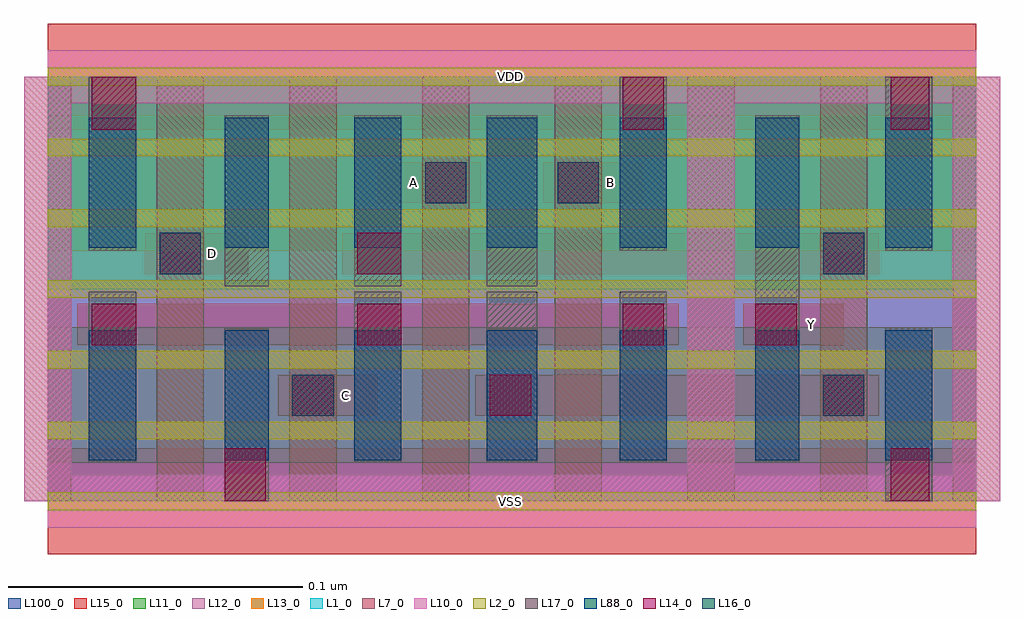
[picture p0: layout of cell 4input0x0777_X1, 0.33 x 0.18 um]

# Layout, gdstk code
import gdstk
lib = gdstk.Library(unit=1e-6, precision=1e-09)
def R(c, l, rs):  # rectangles x0, y0, x1, y1
    for r in rs: c.add(gdstk.rectangle(r[:2], r[2:], *l))
def A(c, l, x, y, w, h, nx, ny, dx, dy):  # array of equal rectangles
    R(c, l, [(x+i*dx, y+j*dy, x+i*dx+w, y+j*dy+h) for i in range(nx) for j in range(ny)])
def P(c, l, *ps):  # polygons
    for p in ps: c.add(gdstk.Polygon(p, *l))
L1_0 = (1, 0)
L2_0 = (2, 0)
L7_0 = (7, 0)
L10_0 = (10, 0)
L11_0 = (11, 0)
L12_0 = (12, 0)
L13_0 = (13, 0)
L14_0 = (14, 0)
L15_0 = (15, 0)
L16_0 = (16, 0)
L17_0 = (17, 0)
L88_0 = (88, 0)
L100_0 = (100, 0)

c_4input0x0777_x1 = lib.new_cell('4input0x0777_X1')
R(c_4input0x0777_x1, L1_0, [(0,0.072,0.315,0.144)])
A(c_4input0x0777_x1, L2_0, 0, -0.003, 0.315, 0.006, 1, 7, 0, 0.024)
A(c_4input0x0777_x1, L7_0, -0.008, 0, 0.016, 0.144, 8, 1, 0.045, 0)
P(c_4input0x0777_x1, L10_0, [(0,-0.009),(0,0),(-0.008,0),(-0.008,0.135),(0.008,0.135),(0.008,0.009),(0.217,0.009),(0.217,0.135),(0.233,0.135),(0.233,0.009),(0.307,0.009),(0.307,0.135),(-0.008,0.135),(-0.008,0.144),(0,0.144),(0,0.153),(0.315,0.153),(0.315,0.144),(0.323,0.144),(0.323,0),(0.315,0),(0.315,-0.009)])
R(c_4input0x0777_x1, L11_0, [(0,0.013,0.315,0.059), (0,0.085,0.315,0.131)])
R(c_4input0x0777_x1, L12_0, [(0,0,0.315,0.072)])
R(c_4input0x0777_x1, L13_0, [(0,0.072,0.315,0.144)])
R(c_4input0x0777_x1, L14_0, [(0.06,0,0.074,0.018), (0.286,0,0.299,0.018), (0.083,0.029,0.097,0.043), (0.15,0.029,0.164,0.043), (0.263,0.029,0.277,0.043), (0.015,0.053,0.03,0.067), (0.105,0.053,0.12,0.067), (0.195,0.053,0.209,0.067), (0.24,0.053,0.254,0.067), (0.038,0.077,0.052,0.091), (0.105,0.077,0.12,0.091), (0.263,0.077,0.277,0.091), (0.128,0.101,0.142,0.115), (0.173,0.101,0.187,0.115), (0.015,0.126,0.03,0.144), (0.195,0.126,0.209,0.144), (0.286,0.126,0.299,0.144)])
R(c_4input0x0777_x1, L15_0, [(0,-0.018,0.315,0.018), (0.078,0.029,0.112,0.043), (0.145,0.029,0.282,0.043), (0.01,0.053,0.214,0.067), (0.236,0.053,0.27,0.067), (0.033,0.077,0.068,0.091), (0.1,0.077,0.282,0.091), (0.112,0.101,0.147,0.115), (0.168,0.101,0.202,0.115), (0,0.126,0.315,0.162)])
R(c_4input0x0777_x1, L16_0, [(0.083,0.029,0.097,0.043), (0.263,0.029,0.277,0.043), (0.038,0.077,0.052,0.091), (0.263,0.077,0.277,0.091), (0.128,0.101,0.142,0.115), (0.173,0.101,0.187,0.115)])
A(c_4input0x0777_x1, L17_0, 0.014, 0.013, 0.016, 0.058, 3, 1, 0.09, 0)
R(c_4input0x0777_x1, L17_0, [(0.06,0,0.075,0.059), (0.284,0,0.3,0.059), (0.149,0.013,0.166,0.071), (0.24,0.013,0.255,0.131), (0.06,0.073,0.075,0.131), (0.104,0.073,0.12,0.131), (0.149,0.073,0.166,0.131), (0.014,0.085,0.03,0.144), (0.194,0.085,0.21,0.144), (0.284,0.085,0.3,0.144)])
A(c_4input0x0777_x1, L88_0, 0.014, 0.014, 0.016, 0.044, 4, 2, 0.09, 0.072)
R(c_4input0x0777_x1, L88_0, [(0.06,0.014,0.075,0.058), (0.149,0.014,0.166,0.058), (0.24,0.014,0.255,0.058), (0.06,0.086,0.075,0.13), (0.149,0.086,0.166,0.13), (0.24,0.086,0.255,0.13)])
R(c_4input0x0777_x1, L100_0, [(0,0,0.315,0.144)])
c_4input0x0777_x1.add(gdstk.Label('Y', (0.259,0.06), layer=15, texttype=251))
c_4input0x0777_x1.add(gdstk.Label('VSS', (0.157,0), layer=15, texttype=251))
c_4input0x0777_x1.add(gdstk.Label('VDD', (0.157,0.144), layer=15, texttype=251))
c_4input0x0777_x1.add(gdstk.Label('B', (0.191,0.108), layer=15, texttype=251))
c_4input0x0777_x1.add(gdstk.Label('VSS', (0.157,0), layer=15, texttype=251))
c_4input0x0777_x1.add(gdstk.Label('VDD', (0.157,0.144), layer=15, texttype=251))
c_4input0x0777_x1.add(gdstk.Label('C', (0.101,0.036), layer=15, texttype=251))
c_4input0x0777_x1.add(gdstk.Label('VSS', (0.157,0), layer=15, texttype=251))
c_4input0x0777_x1.add(gdstk.Label('VDD', (0.157,0.144), layer=15, texttype=251))
c_4input0x0777_x1.add(gdstk.Label('D', (0.056,0.084), layer=15, texttype=251))
c_4input0x0777_x1.add(gdstk.Label('VSS', (0.157,0), layer=15, texttype=251))
c_4input0x0777_x1.add(gdstk.Label('VDD', (0.157,0.144), layer=15, texttype=251))
c_4input0x0777_x1.add(gdstk.Label('A', (0.124,0.108), layer=15, texttype=251))
c_4input0x0777_x1.add(gdstk.Label('VSS', (0.157,0), layer=15, texttype=251))
c_4input0x0777_x1.add(gdstk.Label('VDD', (0.157,0.144), layer=15, texttype=251))
c_4input0x0777_x1.add(gdstk.Label('VSS', (0.157,0), layer=3, texttype=251))
c_4input0x0777_x1.add(gdstk.Label('VSS', (0.157,0), layer=3, texttype=251))
c_4input0x0777_x1.add(gdstk.Label('VSS', (0.157,0), layer=3, texttype=251))
c_4input0x0777_x1.add(gdstk.Label('VSS', (0.157,0), layer=3, texttype=251))
c_4input0x0777_x1.add(gdstk.Label('VSS', (0.157,0), layer=3, texttype=251))
c_4input0x0777_x1.add(gdstk.Label('VDD', (0.157,0.144), layer=1, texttype=251))
c_4input0x0777_x1.add(gdstk.Label('VDD', (0.157,0.144), layer=1, texttype=251))
c_4input0x0777_x1.add(gdstk.Label('VDD', (0.157,0.144), layer=1, texttype=251))
c_4input0x0777_x1.add(gdstk.Label('VDD', (0.157,0.144), layer=1, texttype=251))
c_4input0x0777_x1.add(gdstk.Label('VDD', (0.157,0.144), layer=1, texttype=251))

lib.write_gds('4input0x0777_X1.gds')
